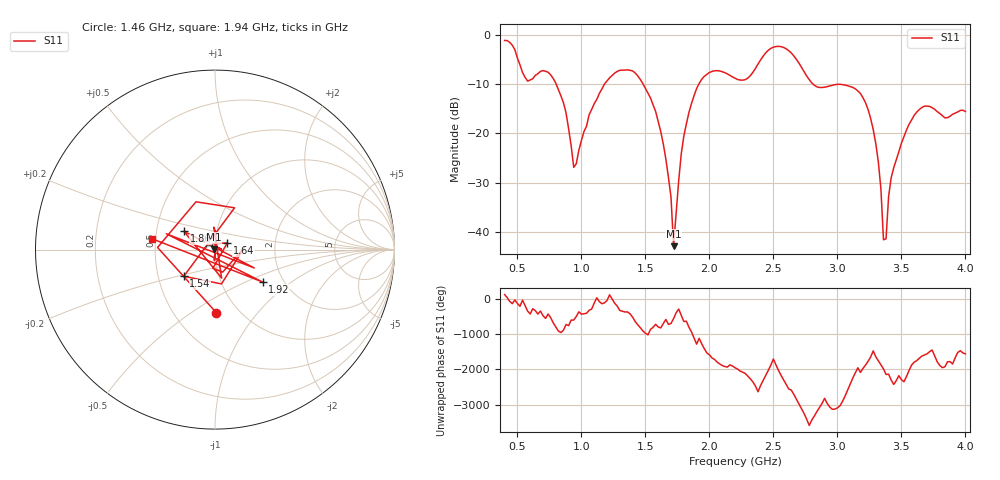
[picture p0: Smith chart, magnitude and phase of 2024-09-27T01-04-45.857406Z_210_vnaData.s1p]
!Created with skrf (http://scikit-rf.org).
# Hz S RI R 50.0
!freq ReS11 ImS11
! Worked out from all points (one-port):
!   181 points, 400 MHz to 4 GHz, reference 50 ohm
!   lowest |S11| = -42.8 dB at 1.72 GHz (marker M1), VSWR 1.01, Z = 49.3 + j0.162 ohm
!   |S11| at or under -10 dB: 802.7 MHz to 1.18 GHz (377.1 MHz wide, 38 % of centre); 1.482 GHz to 1.918 GHz (435.5 MHz wide, 25.6 % of centre); 2.81 GHz to end of sweep
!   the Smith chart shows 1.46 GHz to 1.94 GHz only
!   S11 on the Smith chart (normalised r, x): 1.46 GHz: 0.79, -0.64; 1.54 GHz: 0.68, -0.21; 1.64 GHz: 1.14, +0.09; 1.86 GHz: 0.69, +0.15; 1.92 GHz: 1.57, -0.63; 1.94 GHz: 0.48, +0.07
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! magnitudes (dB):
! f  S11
! 400 MHz  -1.2
! 580 MHz  -9.4
! 740 MHz  -7.6
! 860 MHz  -13.8
! 940 MHz  -26.9
! 1.1 GHz  -14.0
! 1.3 GHz  -7.2
! 1.46 GHz  -9.1
! 1.54 GHz  -12.8
! 1.64 GHz  -22.2
! 1.7 GHz  -32.9
! 1.72 GHz  -42.8
! 1.76 GHz  -29.6
! 1.86 GHz  -13.9
! 1.92 GHz  -9.9
! 1.94 GHz  -9.0
! 2.2 GHz  -8.8
! 2.5 GHz  -2.5
! 2.66 GHz  -4.3
! 2.84 GHz  -10.6
! 3.1 GHz  -10.5
! 3.28 GHz  -19.2
! 3.34 GHz  -31.2
! 3.36 GHz  -41.5
! 3.38 GHz  -41.3
! 3.42 GHz  -29.0
! 3.56 GHz  -18.1
! 4 GHz  -15.5
